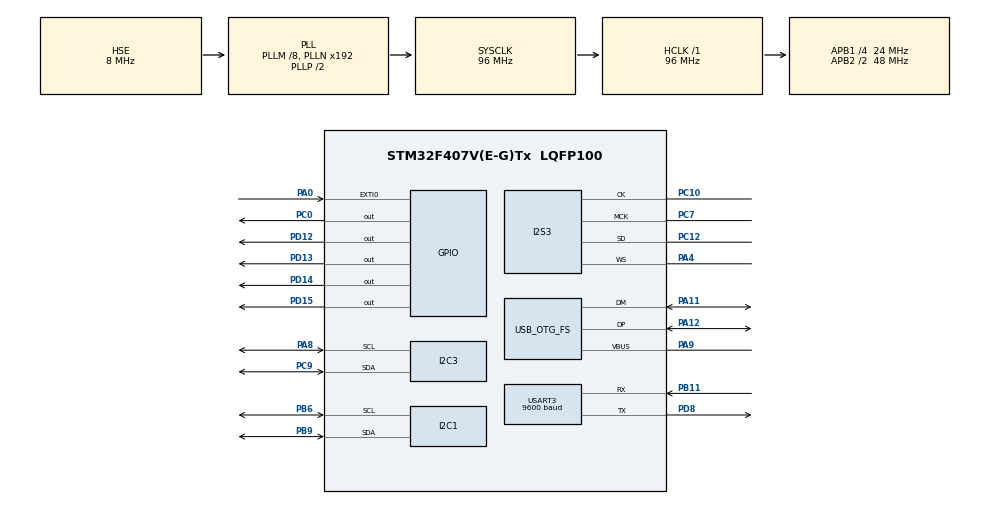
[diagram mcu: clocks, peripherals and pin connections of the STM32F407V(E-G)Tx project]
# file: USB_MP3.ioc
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Dma.Request0=SPI3_TX
Dma.Request1=USART3_RX
Dma.Request2=USART3_TX
Dma.SPI3_TX.0.Direction=DMA_MEMORY_TO_PERIPH
Dma.SPI3_TX.0.FIFOMode=DMA_FIFOMODE_ENABLE
Dma.SPI3_TX.0.FIFOThreshold=DMA_FIFO_THRESHOLD_FULL
Dma.SPI3_TX.0.Instance=DMA1_Stream5
Dma.SPI3_TX.0.MemBurst=DMA_MBURST_SINGLE
Dma.SPI3_TX.0.MemDataAlignment=DMA_MDATAALIGN_HALFWORD
Dma.SPI3_TX.0.MemInc=DMA_MINC_ENABLE
Dma.SPI3_TX.0.Mode=DMA_CIRCULAR
Dma.SPI3_TX.0.PeriphBurst=DMA_PBURST_SINGLE
Dma.SPI3_TX.0.PeriphDataAlignment=DMA_PDATAALIGN_HALFWORD
Dma.SPI3_TX.0.PeriphInc=DMA_PINC_DISABLE
Dma.SPI3_TX.0.Priority=DMA_PRIORITY_LOW
Dma.USART3_RX.1.Direction=DMA_PERIPH_TO_MEMORY
Dma.USART3_RX.1.FIFOMode=DMA_FIFOMODE_DISABLE
Dma.USART3_RX.1.Instance=DMA1_Stream1
Dma.USART3_RX.1.MemDataAlignment=DMA_MDATAALIGN_BYTE
Dma.USART3_RX.1.MemInc=DMA_MINC_ENABLE
Dma.USART3_RX.1.Mode=DMA_NORMAL
Dma.USART3_RX.1.PeriphDataAlignment=DMA_PDATAALIGN_BYTE
Dma.USART3_RX.1.PeriphInc=DMA_PINC_DISABLE
Dma.USART3_RX.1.Priority=DMA_PRIORITY_LOW
Dma.USART3_TX.2.Direction=DMA_MEMORY_TO_PERIPH
Dma.USART3_TX.2.FIFOMode=DMA_FIFOMODE_DISABLE
Dma.USART3_TX.2.Instance=DMA1_Stream3
Dma.USART3_TX.2.MemDataAlignment=DMA_MDATAALIGN_BYTE
Dma.USART3_TX.2.MemInc=DMA_MINC_ENABLE
Dma.USART3_TX.2.Mode=DMA_NORMAL
Dma.USART3_TX.2.PeriphDataAlignment=DMA_PDATAALIGN_BYTE
Dma.USART3_TX.2.PeriphInc=DMA_PINC_DISABLE
Dma.USART3_TX.2.Priority=DMA_PRIORITY_LOW
FATFS._USE_LFN=1
I2S3.AudioFreq=I2S_AUDIOFREQ_44K
I2S3.ErrorAudioFreq=1.45 %
I2S3.FullDuplexMode=I2S_FULLDUPLEXMODE_DISABLE
I2S3.Instance=SPI$Index
I2S3.RealAudioFreq=44.642 KHz
I2S3.VirtualMode=I2S_MODE_MASTER
Mcu.Family=STM32F4
Mcu.Name=STM32F407V(E-G)Tx
Mcu.Package=LQFP100
NVIC.DMA1_Stream1_IRQn=true\:0\:0\:false\:false\:true\:false\:true\:true
NVIC.DMA1_Stream3_IRQn=true\:0\:0\:false\:false\:true\:false\:true\:true
NVIC.DMA1_Stream5_IRQn=true\:0\:0\:false\:false\:true\:false\:true\:true
NVIC.EXTI0_IRQn=true\:0\:0\:false\:false\:true\:true\:true\:true
NVIC.I2C3_ER_IRQn=true\:0\:0\:false\:false\:true\:true\:true\:true
NVIC.I2C3_EV_IRQn=true\:0\:0\:false\:false\:true\:true\:true\:true
NVIC.OTG_FS_IRQn=true\:0\:0\:false\:false\:true\:false\:true\:true
NVIC.PriorityGroup=NVIC_PRIORITYGROUP_4
NVIC.USART3_IRQn=true\:0\:0\:false\:false\:true\:true\:true\:true
PA0-WKUP.GPIO_PuPd=GPIO_PULLDOWN
PA0-WKUP.Signal=GPXTI0
PA11.Mode=Host_Only
PA11.Signal=USB_OTG_FS_DM
PA12.Mode=Host_Only
PA12.Signal=USB_OTG_FS_DP
PA4.Mode=Half_Duplex_Master
PA4.Signal=I2S3_WS
PA8.GPIO_Pu=GPIO_PULLUP
PA8.Mode=I2C
PA8.Signal=I2C3_SCL
PA9.Mode=Activate_VBUS
PA9.Signal=USB_OTG_FS_VBUS
PB11.Mode=Asynchronous
PB11.Signal=USART3_RX
PB6.GPIO_Pu=GPIO_PULLUP
PB6.Mode=I2C
PB6.Signal=I2C1_SCL
PB9.GPIO_Pu=GPIO_PULLUP
PB9.Mode=I2C
PB9.Signal=I2C1_SDA
PC0.Signal=GPIO_Output
PC10.Mode=Half_Duplex_Master
PC10.Signal=I2S3_CK
PC12.Mode=Half_Duplex_Master
PC12.Signal=I2S3_SD
PC7.Mode=Master_Clock_Activated
PC7.Signal=I2S3_MCK
PC9.GPIO_Pu=GPIO_PULLUP
PC9.Mode=I2C
PC9.Signal=I2C3_SDA
PD12.Signal=GPIO_Output
PD13.Signal=GPIO_Output
PD14.Signal=GPIO_Output
PD15.Signal=GPIO_Output
PD8.Mode=Asynchronous
PD8.Signal=USART3_TX
PH0-OSC_IN.Mode=HSE-External-Oscillator
PH0-OSC_IN.Signal=RCC_OSC_IN
PH1-OSC_OUT.Mode=HSE-External-Oscillator
PH1-OSC_OUT.Signal=RCC_OSC_OUT
ProjectManager.HeapSize=0x200
ProjectManager.StackSize=0x400
ProjectManager.TargetToolchain=STM32CubeIDE
RCC.48MHZClocksFreq_Value=48000000
RCC.AHBFreq_Value=96000000
RCC.APB1CLKDivider=RCC_HCLK_DIV4
RCC.APB1Freq_Value=24000000
RCC.APB1TimFreq_Value=48000000
RCC.APB2CLKDivider=RCC_HCLK_DIV2
RCC.APB2Freq_Value=48000000
RCC.APB2TimFreq_Value=96000000
RCC.CortexFreq_Value=96000000
RCC.HCLKFreq_Value=96000000
RCC.HSE_VALUE=8000000
RCC.HSI_VALUE=16000000
RCC.LSE_VALUE=32768
RCC.PLLI2SN=320
RCC.PLLM=8
RCC.SYSCLKFreq_VALUE=96000000
RCC.SYSCLKSource=RCC_SYSCLKSOURCE_PLLCLK
RCC.VCOOutputFreq_Value=192000000
USART3.BaudRate=9600
USART3.VirtualMode=VM_ASYNC
USB_HOST.BSP.number=1
USB_HOST.USBH_HandleTypeDef-MSC_FS=hUsbHostFS
USB_HOST.VirtualModeFS=Msc
USB_HOST0.BSP.STBoard=false
USB_HOST0.BSP.api=Unknown
USB_HOST0.BSP.instance=PC0
USB_HOST0.BSP.ip=GPIO
USB_HOST0.BSP.mode=Output
USB_HOST0.BSP.name=Drive_VBUS_FS
USB_HOST0.BSP.solution=PC0
USB_OTG_FS.VirtualMode=Host_Only
USB_OTG_FS.phy_itface=HCD_PHY_EMBEDDED
VP_FATFS_VS_USB.Mode=USB
VP_USB_HOST_VS_USB_HOST_MSC_FS.Mode=MSC_FS
board=custom

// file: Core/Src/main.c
/* USER CODE BEGIN Header */
/**
 ******************************************************************************
 * @file           : main.c
 * @brief          : Main program body
 ******************************************************************************
 * @attention
 *
 * Copyright (c) 2024 STMicroelectronics.
 * All rights reserved.
 *
 * This software is licensed under terms that can be found in the LICENSE file
 * in the root directory of this software component.
 * If no LICENSE file comes with this software, it is provided AS-IS.
 *
 ******************************************************************************
 */
/* USER CODE END Header */
#include "main.h"

#include "fatfs.h"
#include "usb_host.h"

/* USER CODE BEGIN Includes */
#include "AUDIO.h"
#include "File_Handling.h"
#include "lcd16x2_i2c.h"
#include "waveplayer.h"
/* USER CODE END Includes */

I2C_HandleTypeDef hi2c1;
I2C_HandleTypeDef hi2c3;

I2S_HandleTypeDef hi2s3;
DMA_HandleTypeDef hdma_spi3_tx;

UART_HandleTypeDef huart3;
DMA_HandleTypeDef hdma_usart3_rx;
DMA_HandleTypeDef hdma_usart3_tx;

/* USER CODE BEGIN PV */
uint8_t receiveData[20];

#define Audio_next 0x00
#define Audio_previous 0x01
#define Audio_volumnUp 0x02
#define Audio_volumnDown 0x03
#define Audio_pause 0x04
#define Audio_resume 0x05
/* USER CODE END PV */

void SystemClock_Config(void);
static void MX_GPIO_Init(void);
static void MX_DMA_Init(void);
static void MX_I2C1_Init(void);
static void MX_I2S3_Init(void);
static void MX_I2C3_Init(void);
static void MX_USART3_UART_Init(void);
void MX_USB_HOST_Process(void);

/* USER CODE BEGIN 0 */
extern ApplicationTypeDef Appli_state;
extern AUDIO_PLAYBACK_StateTypeDef AudioState;

uint32_t uwVolume_tmp = 0;
void HAL_UARTEx_RxEventCallback(UART_HandleTypeDef *huart, uint16_t Size) {
  int isValid_ble = 0;
  if (huart == &huart3) {
    HAL_UART_Transmit_DMA(huart, receiveData, Size);

    if (receiveData[0] == 0xAA) {
      if (receiveData[1] == Size) {
        uint8_t sum = 0;
        // for (int i = 0; i < Size - 1; ++i) {
        // sum += receiveData[i];
        //}

        if (sum == receiveData[Size - 1]) {
          for (int i = 2; i < Size - 1; ++i) {
        	  isValid_ble = 1;
            switch (receiveData[i]) {
              case Audio_next:  // 0x00
                AudioState = AUDIO_STATE_NEXT;
                break;
              case Audio_previous:  // 0x01
                AudioState = AUDIO_STATE_PREVIOUS;
                break;
              case Audio_volumnUp:  // 0x02
                AudioState = AUDIO_STATE_VOLUME_UP;
                break;
              case Audio_volumnDown:  // 0x03
                AudioState = AUDIO_STATE_VOLUME_DOWN;
                break;
              case Audio_pause:  // 0x04
                AudioState = AUDIO_STATE_PAUSE;
                break;
              case Audio_resume:  // 0x05
                AudioState = AUDIO_STATE_RESUME;
                break;
              default:
                break;
            }
          }
        }
      }
    }
    HAL_UARTEx_ReceiveToIdle_DMA(huart, receiveData, sizeof(receiveData));
    __HAL_DMA_DISABLE_IT(&hdma_usart3_rx, DMA_IT_HT);
  }
  if (isValid_ble == 0) {
    HAL_GPIO_WritePin(GPIOD, GPIO_PIN_14, GPIO_PIN_SET);
  } else {
    HAL_GPIO_WritePin(GPIOD, GPIO_PIN_14, GPIO_PIN_RESET);
  }
}

int IsFinished = 0;

void HAL_GPIO_EXTI_Callback(uint16_t GPIO_Pin) {
  if (GPIO_Pin == GPIO_PIN_0) {
    switch (AudioState) {
      case AUDIO_STATE_PLAY:
        AudioState = AUDIO_STATE_NEXT;
        break;
      default:
        break;
    }
  }
}

/* USER CODE END 0 */

int main(void) {

  /* MCU Configuration--------------------------------------------------------*/

  /* Reset of all peripherals, Initializes the Flash interface and the Systick.
   */
  HAL_Init();

  /* Configure the system clock */
  SystemClock_Config();

  /* Initialize all configured peripherals */
  MX_GPIO_Init();
  MX_DMA_Init();
  MX_I2C1_Init();
  MX_I2S3_Init();
  MX_FATFS_Init();
  MX_USB_HOST_Init();
  MX_I2C3_Init();
  MX_USART3_UART_Init();
  /* USER CODE BEGIN 2 */
  if (lcd16x2_i2c_init(&hi2c3)) {
    lcd16x2_i2c_clear();
    lcd16x2_i2c_printf("START %.2f", 6.20);
    lcd16x2_i2c_2ndLine();
    lcd16x2_i2c_printf("NCKU Team-14");
    HAL_GPIO_WritePin(GPIOD, GPIO_PIN_12, GPIO_PIN_SET);
  }
  HAL_UARTEx_RxEventCallback(&huart3, sizeof(receiveData));
  uwVolume_tmp = get_uwVolume();
  /* USER CODE END 2 */

  /* Infinite loop */
  while (1) {
    MX_USB_HOST_Process();

    /* USER CODE BEGIN 3 */
    if (Appli_state == APPLICATION_READY) {
      Mount_USB();
      AUDIO_PLAYER_Start(0);
      HAL_GPIO_WritePin(GPIOD, GPIO_PIN_13, GPIO_PIN_SET);
      while (!IsFinished) {
        AUDIO_PLAYER_Process(TRUE);

        if (AudioState == AUDIO_STATE_STOP) {
          lcd16x2_i2c_clear();
          lcd16x2_i2c_printf("END");
          IsFinished = 1;
          HAL_GPIO_WritePin(GPIOD, GPIO_PIN_12, GPIO_PIN_RESET);
          HAL_GPIO_WritePin(GPIOD, GPIO_PIN_13, GPIO_PIN_RESET);
          HAL_GPIO_WritePin(GPIOD, GPIO_PIN_14, GPIO_PIN_RESET);
        } else if (AudioState == AUDIO_STATE_VOLUME_UP) {
          uwVolume_tmp += 10;
          lcd16x2_i2c_clear();
          lcd16x2_i2c_printf("VOLUME_UP");
          lcd16x2_i2c_2ndLine();
          lcd16x2_i2c_printf("v: %u", uwVolume_tmp);
          HAL_Delay(200);
        } else if (AudioState == AUDIO_STATE_VOLUME_DOWN) {
          uwVolume_tmp -= 10;
          lcd16x2_i2c_clear();
          lcd16x2_i2c_printf("VOLUME_DOWN");
          lcd16x2_i2c_2ndLine();
          lcd16x2_i2c_printf("v: %u", uwVolume_tmp);
          HAL_Delay(200);
        } else if (AudioState == AUDIO_STATE_RESUME) {
          lcd16x2_i2c_clear();
          lcd16x2_i2c_printf("RESUME");
          lcd16x2_i2c_2ndLine();
          lcd16x2_i2c_printf("v: %u", uwVolume_tmp);
          HAL_Delay(200);
        } else if (AudioState == AUDIO_STATE_PAUSE) {
          lcd16x2_i2c_clear();
          lcd16x2_i2c_printf("PAUSE");
          HAL_Delay(200);
        }
      }
    }
  }
  /* USER CODE END 3 */
}

void SystemClock_Config(void) {
  RCC_OscInitTypeDef RCC_OscInitStruct = {0};
  RCC_ClkInitTypeDef RCC_ClkInitStruct = {0};

  /** Configure the main internal regulator output voltage
   */
  __HAL_RCC_PWR_CLK_ENABLE();
  __HAL_PWR_VOLTAGESCALING_CONFIG(PWR_REGULATOR_VOLTAGE_SCALE1);

  /** Initializes the RCC Oscillators according to the specified parameters
   * in the RCC_OscInitTypeDef structure.
   */
  RCC_OscInitStruct.OscillatorType = RCC_OSCILLATORTYPE_HSE;
  RCC_OscInitStruct.HSEState = RCC_HSE_ON;
  RCC_OscInitStruct.PLL.PLLState = RCC_PLL_ON;
  RCC_OscInitStruct.PLL.PLLSource = RCC_PLLSOURCE_HSE;
  RCC_OscInitStruct.PLL.PLLM = 8;
  RCC_OscInitStruct.PLL.PLLN = 192;
  RCC_OscInitStruct.PLL.PLLP = RCC_PLLP_DIV2;
  RCC_OscInitStruct.PLL.PLLQ = 4;
  if (HAL_RCC_OscConfig(&RCC_OscInitStruct) != HAL_OK) {
    Error_Handler();
  }

  /** Initializes the CPU, AHB and APB buses clocks
   */
  RCC_ClkInitStruct.ClockType = RCC_CLOCKTYPE_HCLK | RCC_CLOCKTYPE_SYSCLK |
                                RCC_CLOCKTYPE_PCLK1 | RCC_CLOCKTYPE_PCLK2;
  RCC_ClkInitStruct.SYSCLKSource = RCC_SYSCLKSOURCE_PLLCLK;
  RCC_ClkInitStruct.AHBCLKDivider = RCC_SYSCLK_DIV1;
  RCC_ClkInitStruct.APB1CLKDivider = RCC_HCLK_DIV4;
  RCC_ClkInitStruct.APB2CLKDivider = RCC_HCLK_DIV2;

  if (HAL_RCC_ClockConfig(&RCC_ClkInitStruct, FLASH_LATENCY_3) != HAL_OK) {
    Error_Handler();
  }
}

static void MX_I2C1_Init(void) {

  hi2c1.Instance = I2C1;
  hi2c1.Init.ClockSpeed = 100000;
  hi2c1.Init.DutyCycle = I2C_DUTYCYCLE_2;
  hi2c1.Init.OwnAddress1 = 0;
  hi2c1.Init.AddressingMode = I2C_ADDRESSINGMODE_7BIT;
  hi2c1.Init.DualAddressMode = I2C_DUALADDRESS_DISABLE;
  hi2c1.Init.OwnAddress2 = 0;
  hi2c1.Init.GeneralCallMode = I2C_GENERALCALL_DISABLE;
  hi2c1.Init.NoStretchMode = I2C_NOSTRETCH_DISABLE;
  if (HAL_I2C_Init(&hi2c1) != HAL_OK) {
    Error_Handler();
  }
}

static void MX_I2C3_Init(void) {

  hi2c3.Instance = I2C3;
  hi2c3.Init.ClockSpeed = 100000;
  hi2c3.Init.DutyCycle = I2C_DUTYCYCLE_2;
  hi2c3.Init.OwnAddress1 = 0;
  hi2c3.Init.AddressingMode = I2C_ADDRESSINGMODE_7BIT;
  hi2c3.Init.DualAddressMode = I2C_DUALADDRESS_DISABLE;
  hi2c3.Init.OwnAddress2 = 0;
  hi2c3.Init.GeneralCallMode = I2C_GENERALCALL_DISABLE;
  hi2c3.Init.NoStretchMode = I2C_NOSTRETCH_DISABLE;
  if (HAL_I2C_Init(&hi2c3) != HAL_OK) {
    Error_Handler();
  }
}

static void MX_I2S3_Init(void) {

  hi2s3.Instance = SPI3;
  hi2s3.Init.Mode = I2S_MODE_MASTER_TX;
  hi2s3.Init.Standard = I2S_STANDARD_PHILIPS;
  hi2s3.Init.DataFormat = I2S_DATAFORMAT_16B;
  hi2s3.Init.MCLKOutput = I2S_MCLKOUTPUT_ENABLE;
  hi2s3.Init.AudioFreq = I2S_AUDIOFREQ_44K;
  hi2s3.Init.CPOL = I2S_CPOL_LOW;
  hi2s3.Init.ClockSource = I2S_CLOCK_PLL;
  hi2s3.Init.FullDuplexMode = I2S_FULLDUPLEXMODE_DISABLE;
  if (HAL_I2S_Init(&hi2s3) != HAL_OK) {
    Error_Handler();
  }
}

static void MX_USART3_UART_Init(void) {

  huart3.Instance = USART3;
  huart3.Init.BaudRate = 9600;
  huart3.Init.WordLength = UART_WORDLENGTH_8B;
  huart3.Init.StopBits = UART_STOPBITS_1;
  huart3.Init.Parity = UART_PARITY_NONE;
  huart3.Init.Mode = UART_MODE_TX_RX;
  huart3.Init.HwFlowCtl = UART_HWCONTROL_NONE;
  huart3.Init.OverSampling = UART_OVERSAMPLING_16;
  if (HAL_UART_Init(&huart3) != HAL_OK) {
    Error_Handler();
  }
}

static void MX_DMA_Init(void) {
  /* DMA controller clock enable */
  __HAL_RCC_DMA1_CLK_ENABLE();

  /* DMA interrupt init */
  /* DMA1_Stream1_IRQn interrupt configuration */
  HAL_NVIC_SetPriority(DMA1_Stream1_IRQn, 0, 0);
  HAL_NVIC_EnableIRQ(DMA1_Stream1_IRQn);
  /* DMA1_Stream3_IRQn interrupt configuration */
  HAL_NVIC_SetPriority(DMA1_Stream3_IRQn, 0, 0);
  HAL_NVIC_EnableIRQ(DMA1_Stream3_IRQn);
  /* DMA1_Stream5_IRQn interrupt configuration */
  HAL_NVIC_SetPriority(DMA1_Stream5_IRQn, 0, 0);
  HAL_NVIC_EnableIRQ(DMA1_Stream5_IRQn);
}

static void MX_GPIO_Init(void) {
  GPIO_InitTypeDef GPIO_InitStruct = {0};

  /* GPIO Ports Clock Enable */
  __HAL_RCC_GPIOH_CLK_ENABLE();
  __HAL_RCC_GPIOC_CLK_ENABLE();
  __HAL_RCC_GPIOA_CLK_ENABLE();
  __HAL_RCC_GPIOB_CLK_ENABLE();
  __HAL_RCC_GPIOD_CLK_ENABLE();

  /*Configure GPIO pin Output Level */
  HAL_GPIO_WritePin(GPIOC, GPIO_PIN_0, GPIO_PIN_RESET);

  /*Configure GPIO pin Output Level */
  HAL_GPIO_WritePin(GPIOD,
                    GPIO_PIN_12 | GPIO_PIN_13 | GPIO_PIN_14 | GPIO_PIN_15,
                    GPIO_PIN_RESET);

  /*Configure GPIO pin : PC0 */
  GPIO_InitStruct.Pin = GPIO_PIN_0;
  GPIO_InitStruct.Mode = GPIO_MODE_OUTPUT_PP;
  GPIO_InitStruct.Pull = GPIO_NOPULL;
  GPIO_InitStruct.Speed = GPIO_SPEED_FREQ_LOW;
  HAL_GPIO_Init(GPIOC, &GPIO_InitStruct);

  /*Configure GPIO pin : PA0 */
  GPIO_InitStruct.Pin = GPIO_PIN_0;
  GPIO_InitStruct.Mode = GPIO_MODE_IT_RISING;
  GPIO_InitStruct.Pull = GPIO_PULLDOWN;
  HAL_GPIO_Init(GPIOA, &GPIO_InitStruct);

  /*Configure GPIO pins : PD12 PD13 PD14 PD15 */
  GPIO_InitStruct.Pin = GPIO_PIN_12 | GPIO_PIN_13 | GPIO_PIN_14 | GPIO_PIN_15;
  GPIO_InitStruct.Mode = GPIO_MODE_OUTPUT_PP;
  GPIO_InitStruct.Pull = GPIO_NOPULL;
  GPIO_InitStruct.Speed = GPIO_SPEED_FREQ_LOW;
  HAL_GPIO_Init(GPIOD, &GPIO_InitStruct);

  /* EXTI interrupt init*/
  HAL_NVIC_SetPriority(EXTI0_IRQn, 0, 0);
  HAL_NVIC_EnableIRQ(EXTI0_IRQn);
}

void Error_Handler(void) {
  /* USER CODE BEGIN Error_Handler_Debug */
  /* User can add his own implementation to report the HAL error return state
   */
  __disable_irq();
  while (1) {
  }
  /* USER CODE END Error_Handler_Debug */
}

#ifdef USE_FULL_ASSERT
/**
 * @brief  Reports the name of the source file and the source line number
 *         where the assert_param error has occurred.
 * @param  file: pointer to the source file name
 * @param  line: assert_param error line source number
 * @retval None
 */
void assert_failed(uint8_t *file, uint32_t line) {
  /* USER CODE BEGIN 6 */
  /* User can add his own implementation to report the file name and line
     number, ex: printf("Wrong parameters value: file %s on line %d\r\n",
     file, line) */
  /* USER CODE END 6 */
}
#endif /* USE_FULL_ASSERT */
